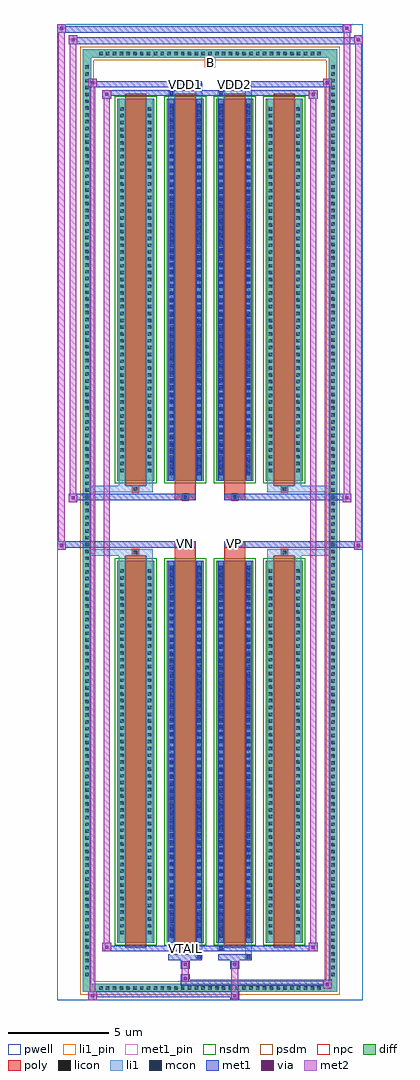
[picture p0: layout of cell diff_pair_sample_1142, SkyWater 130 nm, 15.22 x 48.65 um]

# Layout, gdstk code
import gdstk
lib = gdstk.Library(unit=1e-6, precision=5e-09)
def R(c, l, rs):  # rectangles x0, y0, x1, y1
    for r in rs: c.add(gdstk.rectangle(r[:2], r[2:], *l))
def A(c, l, x, y, w, h, nx, ny, dx, dy):  # array of equal rectangles
    R(c, l, [(x+i*dx, y+j*dy, x+i*dx+w, y+j*dy+h) for i in range(nx) for j in range(ny)])
def P(c, l, *ps):  # polygons
    for p in ps: c.add(gdstk.Polygon(p, *l))
pwell = (64, 44)
diff = (65, 20)
poly = (66, 20)
licon = (66, 44)
li1_pin = (67, 16)
li1 = (67, 20)
mcon = (67, 44)
met1_pin = (68, 16)
met1 = (68, 20)
via = (68, 44)
met2 = (69, 20)
nsdm = (93, 44)
psdm = (94, 20)
npc = (95, 20)

diff_pair_sample_1142 = lib.new_cell('diff_pair_sample_1142')
R(diff_pair_sample_1142, pwell, [(-7.61,-23.89,7.61,24.76), (-4.93,-22.08,-0.01,-0.82), (0.01,-22.08,4.93,-0.82), (-4.93,0.82,-0.01,22.08), (0.01,0.82,4.93,22.08)])
A(diff_pair_sample_1142, diff, -5.645, -23.49, 0.41, 0.41, 33, 2, 0.34, 46.57)
A(diff_pair_sample_1142, diff, -6.34, -22.815, 0.41, 0.41, 1, 134, 0, 0.34)
A(diff_pair_sample_1142, diff, 5.93, -22.815, 0.41, 0.41, 1, 134, 0, 0.34)
A(diff_pair_sample_1142, diff, -4.62, -21.035, 1.83, 19.03, 4, 2, 2.47, 23.04)
R(diff_pair_sample_1142, diff, [(-5.645,-23.49,5.645,-23.08), (-6.34,-22.815,-5.93,22.815), (5.93,-22.815,6.34,22.815), (-5.645,23.08,5.645,23.49)])
P(diff_pair_sample_1142, diff, [(6.34,23.49),(-6.34,23.49),(-6.34,-23.08),(-5.93,-23.08),(-5.93,23.08),(5.93,23.08),(5.93,-23.08),(-5.93,-23.08),(-6.34,-23.08),(-6.34,-23.49),(6.34,-23.49)])
A(diff_pair_sample_1142, poly, -4.23, -21.285, 1.05, 19.53, 4, 2, 2.47, 23.04)
R(diff_pair_sample_1142, poly, [(-3.87,-1.755,-3.54,-1.425), (-3.87,-1.755,-3.54,-1.425), (-1.76,-1.755,-0.71,-1.35), (0.71,-1.755,1.76,-1.35), (3.54,-1.755,3.87,-1.425), (3.54,-1.755,3.87,-1.425), (-1.76,-1.35,-0.71,-1.02), (-1.4,-1.35,-1.07,-1.02), (0.71,-1.35,1.76,-1.02), (1.07,-1.35,1.4,-1.02), (-1.76,1.02,-0.71,1.35), (-1.4,1.02,-1.07,1.35), (0.71,1.02,1.76,1.35), (1.07,1.02,1.4,1.35), (-1.76,1.35,-0.71,1.755), (0.71,1.35,1.76,1.755), (-3.87,1.425,-3.54,1.755), (-3.87,1.425,-3.54,1.755), (3.54,1.425,3.87,1.755), (3.54,1.425,3.87,1.755)])
A(diff_pair_sample_1142, licon, -5.525, -23.37, 0.17, 0.17, 33, 2, 0.34, 46.57)
A(diff_pair_sample_1142, licon, -6.22, -22.695, 0.17, 0.17, 1, 134, 0, 0.34)
A(diff_pair_sample_1142, licon, 6.05, -22.695, 0.17, 0.17, 1, 134, 0, 0.34)
A(diff_pair_sample_1142, licon, -4.48, -20.615, 0.17, 0.17, 1, 54, 0, 0.34)
A(diff_pair_sample_1142, licon, -3.1, -20.615, 0.17, 0.17, 1, 54, 0, 0.34)
A(diff_pair_sample_1142, licon, -2.01, -20.615, 0.17, 0.17, 1, 54, 0, 0.34)
A(diff_pair_sample_1142, licon, -0.63, -20.615, 0.17, 0.17, 1, 54, 0, 0.34)
A(diff_pair_sample_1142, licon, 0.46, -20.615, 0.17, 0.17, 1, 54, 0, 0.34)
A(diff_pair_sample_1142, licon, 1.84, -20.615, 0.17, 0.17, 1, 54, 0, 0.34)
A(diff_pair_sample_1142, licon, 2.93, -20.615, 0.17, 0.17, 1, 54, 0, 0.34)
A(diff_pair_sample_1142, licon, 4.31, -20.615, 0.17, 0.17, 1, 54, 0, 0.34)
A(diff_pair_sample_1142, licon, -4.48, 2.425, 0.17, 0.17, 1, 54, 0, 0.34)
A(diff_pair_sample_1142, licon, -3.1, 2.425, 0.17, 0.17, 1, 54, 0, 0.34)
A(diff_pair_sample_1142, licon, -2.01, 2.425, 0.17, 0.17, 1, 54, 0, 0.34)
A(diff_pair_sample_1142, licon, -0.63, 2.425, 0.17, 0.17, 1, 54, 0, 0.34)
A(diff_pair_sample_1142, licon, 0.46, 2.425, 0.17, 0.17, 1, 54, 0, 0.34)
A(diff_pair_sample_1142, licon, 1.84, 2.425, 0.17, 0.17, 1, 54, 0, 0.34)
A(diff_pair_sample_1142, licon, 2.93, 2.425, 0.17, 0.17, 1, 54, 0, 0.34)
A(diff_pair_sample_1142, licon, 4.31, 2.425, 0.17, 0.17, 1, 54, 0, 0.34)
R(diff_pair_sample_1142, licon, [(-3.79,-1.675,-3.62,-1.505), (3.62,-1.675,3.79,-1.505), (-1.32,-1.27,-1.15,-1.1), (1.15,-1.27,1.32,-1.1), (-1.32,1.1,-1.15,1.27), (1.15,1.1,1.32,1.27), (-3.79,1.505,-3.62,1.675), (3.62,1.505,3.79,1.675)])
R(diff_pair_sample_1142, li1_pin, [(-0.25,22.58,0.25,23.08)])
A(diff_pair_sample_1142, li1, -5.605, -23.45, 0.33, 0.33, 33, 2, 0.34, 46.57)
A(diff_pair_sample_1142, li1, -6.3, -22.775, 0.33, 0.33, 1, 134, 0, 0.34)
A(diff_pair_sample_1142, li1, 5.97, -22.775, 0.33, 0.33, 1, 134, 0, 0.34)
A(diff_pair_sample_1142, li1, -2.01, -20.785, 0.17, 0.17, 1, 52, 0, 0.36)
A(diff_pair_sample_1142, li1, -0.63, -20.785, 0.17, 0.17, 1, 52, 0, 0.36)
A(diff_pair_sample_1142, li1, 0.46, -20.785, 0.17, 0.17, 1, 52, 0, 0.36)
A(diff_pair_sample_1142, li1, 1.84, -20.785, 0.17, 0.17, 1, 52, 0, 0.36)
A(diff_pair_sample_1142, li1, -4.56, -20.695, 0.33, 0.33, 1, 54, 0, 0.34)
A(diff_pair_sample_1142, li1, -3.18, -20.695, 0.33, 0.33, 1, 54, 0, 0.34)
A(diff_pair_sample_1142, li1, -2.09, -20.695, 0.33, 0.33, 1, 54, 0, 0.34)
A(diff_pair_sample_1142, li1, -0.71, -20.695, 0.33, 0.33, 1, 54, 0, 0.34)
A(diff_pair_sample_1142, li1, 0.38, -20.695, 0.33, 0.33, 1, 54, 0, 0.34)
A(diff_pair_sample_1142, li1, 1.76, -20.695, 0.33, 0.33, 1, 54, 0, 0.34)
A(diff_pair_sample_1142, li1, 2.85, -20.695, 0.33, 0.33, 1, 54, 0, 0.34)
A(diff_pair_sample_1142, li1, 4.23, -20.695, 0.33, 0.33, 1, 54, 0, 0.34)
A(diff_pair_sample_1142, li1, -2.01, 2.255, 0.17, 0.17, 1, 52, 0, 0.36)
A(diff_pair_sample_1142, li1, -0.63, 2.255, 0.17, 0.17, 1, 52, 0, 0.36)
A(diff_pair_sample_1142, li1, 0.46, 2.255, 0.17, 0.17, 1, 52, 0, 0.36)
A(diff_pair_sample_1142, li1, 1.84, 2.255, 0.17, 0.17, 1, 52, 0, 0.36)
A(diff_pair_sample_1142, li1, -4.56, 2.345, 0.33, 0.33, 1, 54, 0, 0.34)
A(diff_pair_sample_1142, li1, -3.18, 2.345, 0.33, 0.33, 1, 54, 0, 0.34)
A(diff_pair_sample_1142, li1, -2.09, 2.345, 0.33, 0.33, 1, 54, 0, 0.34)
A(diff_pair_sample_1142, li1, -0.71, 2.345, 0.33, 0.33, 1, 54, 0, 0.34)
A(diff_pair_sample_1142, li1, 0.38, 2.345, 0.33, 0.33, 1, 54, 0, 0.34)
A(diff_pair_sample_1142, li1, 1.76, 2.345, 0.33, 0.33, 1, 54, 0, 0.34)
A(diff_pair_sample_1142, li1, 2.85, 2.345, 0.33, 0.33, 1, 54, 0, 0.34)
A(diff_pair_sample_1142, li1, 4.23, 2.345, 0.33, 0.33, 1, 54, 0, 0.34)
R(diff_pair_sample_1142, li1, [(-6.34,-23.49,-5.93,-23.08), (-6.34,-23.49,-5.93,-23.08), (-5.93,-23.49,5.93,-23.08), (5.93,-23.49,6.34,-23.08), (5.93,-23.49,6.34,-23.08), (-6.34,-23.08,-5.93,23.08), (5.93,-23.08,6.34,23.08), (-0.71,-21.84,-0.38,-21.035), (-0.63,-21.84,-0.46,-21.67), (1.76,-21.84,2.09,-21.035), (1.84,-21.84,2.01,-21.67), (-2.09,-21.41,-1.76,-21.035), (-2.01,-21.41,-1.84,-21.24), (0.38,-21.41,0.71,-21.035), (0.46,-21.41,0.63,-21.24), (-4.56,-21.035,-4.23,-2.005), (-3.18,-21.035,-2.85,-2.005), (-2.09,-21.035,-1.76,-2.005), (-0.71,-21.035,-0.38,-2.005), (0.38,-21.035,0.71,-2.005), (1.76,-21.035,2.09,-2.005), (2.85,-21.035,3.18,-2.005), (4.23,-21.035,4.56,-2.005), (-2.01,-20.785,-1.84,-2.255), (-0.63,-20.785,-0.46,-2.255), (0.46,-20.785,0.63,-2.255), (1.84,-20.785,2.01,-2.255), (-4.56,-2.005,-4.23,-1.425), (-3.18,-2.005,-2.85,-1.425), (2.85,-2.005,3.18,-1.425), (4.23,-2.005,4.56,-1.425), (-6.34,-1.755,-3.87,-1.425), (-4.56,-1.755,-3.87,-1.425), (-3.87,-1.755,-3.54,-1.425), (-3.54,-1.755,-2.85,-1.425), (2.85,-1.755,3.54,-1.425), (3.54,-1.755,3.87,-1.425), (3.54,-1.755,6.34,-1.425), (3.87,-1.755,4.56,-1.425), (-1.4,-1.35,-1.07,-1.02), (1.07,-1.35,1.4,-1.02), (-1.4,1.02,-1.07,1.35), (1.07,1.02,1.4,1.35), (-6.34,1.425,-3.87,1.755), (-4.56,1.425,-3.87,1.755), (-4.56,1.425,-4.23,2.005), (-3.87,1.425,-3.54,1.755), (-3.54,1.425,-2.85,1.755), (-3.18,1.425,-2.85,2.005), (2.85,1.425,3.54,1.755), (2.85,1.425,3.18,2.005), (3.54,1.425,3.87,1.755), (3.54,1.425,6.34,1.755), (3.87,1.425,4.56,1.755), (4.23,1.425,4.56,2.005), (-4.56,2.005,-4.23,21.035), (-3.18,2.005,-2.85,21.035), (-2.09,2.005,-1.76,21.035), (-0.71,2.005,-0.38,21.035), (0.38,2.005,0.71,21.035), (1.76,2.005,2.09,21.035), (2.85,2.005,3.18,21.035), (4.23,2.005,4.56,21.035), (-2.01,2.255,-1.84,20.785), (-0.63,2.255,-0.46,20.785), (0.46,2.255,0.63,20.785), (1.84,2.255,2.01,20.785), (-2.09,21.035,-1.76,21.41), (-0.71,21.035,-0.38,21.84), (0.38,21.035,0.71,21.41), (1.76,21.035,2.09,21.84), (-2.01,21.24,-1.84,21.41), (0.46,21.24,0.63,21.41), (-0.63,21.67,-0.46,21.84), (1.84,21.67,2.01,21.84), (-6.34,23.08,-5.93,23.49), (-6.34,23.08,-5.93,23.49), (-5.93,23.08,5.93,23.49), (5.93,23.08,6.34,23.49), (5.93,23.08,6.34,23.49)])
A(diff_pair_sample_1142, mcon, -2.01, -20.785, 0.17, 0.17, 1, 52, 0, 0.36)
A(diff_pair_sample_1142, mcon, -0.63, -20.785, 0.17, 0.17, 1, 52, 0, 0.36)
A(diff_pair_sample_1142, mcon, 0.46, -20.785, 0.17, 0.17, 1, 52, 0, 0.36)
A(diff_pair_sample_1142, mcon, 1.84, -20.785, 0.17, 0.17, 1, 52, 0, 0.36)
A(diff_pair_sample_1142, mcon, -2.01, 2.255, 0.17, 0.17, 1, 52, 0, 0.36)
A(diff_pair_sample_1142, mcon, -0.63, 2.255, 0.17, 0.17, 1, 52, 0, 0.36)
A(diff_pair_sample_1142, mcon, 0.46, 2.255, 0.17, 0.17, 1, 52, 0, 0.36)
A(diff_pair_sample_1142, mcon, 1.84, 2.255, 0.17, 0.17, 1, 52, 0, 0.36)
R(diff_pair_sample_1142, mcon, [(-0.63,-21.84,-0.46,-21.67), (1.84,-21.84,2.01,-21.67), (-2.01,-21.41,-1.84,-21.24), (0.46,-21.41,0.63,-21.24), (-1.32,-1.27,-1.15,-1.1), (1.15,-1.27,1.32,-1.1), (-1.32,1.1,-1.15,1.27), (1.15,1.1,1.32,1.27), (-2.01,21.24,-1.84,21.41), (0.46,21.24,0.63,21.41), (-0.63,21.67,-0.46,21.84), (1.84,21.67,2.01,21.84)])
R(diff_pair_sample_1142, met1_pin, [(-1.37,-21.45,-1.1,-21.18), (-1.37,-1.29,-1.1,-1.02), (1.1,-1.29,1.37,-1.02), (-1.37,21.63,-1.1,21.9), (1.1,21.63,1.37,21.9)])
A(diff_pair_sample_1142, met1, -2.07, -20.845, 0.29, 0.29, 1, 52, 0, 0.36)
A(diff_pair_sample_1142, met1, -0.69, -20.845, 0.29, 0.29, 1, 52, 0, 0.36)
A(diff_pair_sample_1142, met1, 0.4, -20.845, 0.29, 0.29, 1, 52, 0, 0.36)
A(diff_pair_sample_1142, met1, 1.78, -20.845, 0.29, 0.29, 1, 52, 0, 0.36)
A(diff_pair_sample_1142, met1, -2.07, 2.195, 0.29, 0.29, 1, 52, 0, 0.36)
A(diff_pair_sample_1142, met1, -0.69, 2.195, 0.29, 0.29, 1, 52, 0, 0.36)
A(diff_pair_sample_1142, met1, 0.4, 2.195, 0.29, 0.29, 1, 52, 0, 0.36)
A(diff_pair_sample_1142, met1, 1.78, 2.195, 0.29, 0.29, 1, 52, 0, 0.36)
R(diff_pair_sample_1142, met1, [(-6.07,-23.89,-5.64,-23.46), (1.02,-23.89,1.45,-23.46), (-6.07,-23.75,1.45,-23.46), (5.64,-23.32,6.07,-22.89), (-1.45,-23.18,6.07,-22.89), (-1.45,-23.04,-1.02,-22.61), (-1.45,-22.33,-1.02,-21.9), (1.02,-22.33,1.45,-21.9), (-2.07,-21.9,-0.4,-21.61), (-0.69,-21.9,-0.4,-21.61), (0.4,-21.9,2.07,-21.61), (1.78,-21.9,2.07,-21.61), (-5.36,-21.47,-4.93,-21.04), (-5.36,-21.47,-2.07,-21.18), (-2.07,-21.47,-1.78,-21.18), (-2.07,-21.47,-0.4,-21.18), (-0.4,-21.47,0.4,-21.18), (0.4,-21.47,0.69,-21.18), (0.4,-21.47,2.07,-21.18), (2.07,-21.47,5.36,-21.18), (4.93,-21.47,5.36,-21.04), (-2.07,-21.035,-1.78,-2.005), (-0.69,-21.035,-0.4,-2.005), (0.4,-21.035,0.69,-2.005), (1.78,-21.035,2.07,-2.005), (-7.61,-1.45,-7.18,-1.02), (7.18,-1.45,7.61,-1.02), (-7.61,-1.35,-0.71,-1.02), (-1.76,-1.35,-0.71,-1.02), (0.71,-1.35,1.76,-1.02), (0.71,-1.35,7.61,-1.02), (-1.38,-1.33,-1.09,-1.04), (1.09,-1.33,1.38,-1.04), (-7.04,0.92,-6.61,1.35), (6.61,0.92,7.04,1.35), (-7.04,1.02,-1.76,1.35), (-1.76,1.02,-0.71,1.35), (0.71,1.02,1.76,1.35), (1.76,1.02,7.04,1.35), (-1.38,1.04,-1.09,1.33), (1.09,1.04,1.38,1.33), (-2.07,2.005,-1.78,21.035), (-0.69,2.005,-0.4,21.035), (0.4,2.005,0.69,21.035), (1.78,2.005,2.07,21.035), (-5.36,21.04,-4.93,21.47), (4.93,21.04,5.36,21.47), (-5.36,21.18,-2.07,21.47), (-2.07,21.18,-1.78,21.47), (-2.07,21.18,-0.4,21.47), (-0.4,21.18,0.4,21.47), (0.4,21.18,0.69,21.47), (0.4,21.18,2.07,21.47), (2.07,21.18,5.36,21.47), (-6.07,21.61,-5.64,22.04), (-6.07,21.61,-2.07,21.9), (-2.07,21.61,-0.4,21.9), (-0.69,21.61,-0.4,21.9), (0.4,21.61,2.07,21.9), (1.78,21.61,2.07,21.9), (2.07,21.61,6.07,21.9), (5.64,21.61,6.07,22.04), (-7.04,23.76,-6.61,24.19), (-7.04,23.76,-4.93,24.09), (-4.93,23.76,4.93,24.09), (4.93,23.76,7.61,24.09), (7.18,23.76,7.61,24.19), (-7.61,24.33,-7.18,24.76), (-7.61,24.33,-4.93,24.66), (-4.93,24.33,4.93,24.66), (4.93,24.33,7.04,24.66), (6.61,24.33,7.04,24.76)])
R(diff_pair_sample_1142, via, [(-5.93,-23.75,-5.78,-23.6), (1.16,-23.75,1.31,-23.6), (5.78,-23.18,5.93,-23.03), (-1.31,-22.9,-1.16,-22.75), (-1.31,-22.19,-1.16,-22.04), (1.16,-22.19,1.31,-22.04), (-5.22,-21.33,-5.07,-21.18), (5.07,-21.33,5.22,-21.18), (-7.47,-1.31,-7.32,-1.16), (7.32,-1.31,7.47,-1.16), (-6.9,1.06,-6.75,1.21), (6.75,1.06,6.9,1.21), (-5.22,21.18,-5.07,21.33), (5.07,21.18,5.22,21.33), (-5.93,21.75,-5.78,21.9), (5.78,21.75,5.93,21.9), (-6.9,23.9,-6.75,24.05), (7.32,23.9,7.47,24.05), (-7.47,24.47,-7.32,24.62), (6.75,24.47,6.9,24.62)])
R(diff_pair_sample_1142, met2, [(-6.07,-23.89,-5.64,-23.46), (-6,-23.89,-5.71,22.04), (-5.71,-23.89,-5.64,-23.46), (-6.02,-23.84,-5.69,-23.51), (1.07,-23.84,1.4,-23.51), (1.07,-23.51,1.4,-22.28), (5.64,-23.32,6.07,-22.89), (5.71,-23.32,6,22.04), (6,-23.32,6.07,-22.89), (5.69,-23.27,6.02,-22.94), (-1.4,-22.99,-1.07,-22.66), (-1.4,-22.66,-1.07,-22.28), (-1.4,-22.28,-1.07,-21.95), (1.07,-22.28,1.4,-21.95), (-5.36,-21.47,-4.93,-21.04), (-5.29,-21.47,-5,21.47), (-5,-21.47,-4.93,-21.04), (4.93,-21.47,5.36,-21.04), (5,-21.47,5.29,21.47), (5.29,-21.47,5.36,-21.04), (-5.31,-21.42,-4.98,-21.09), (4.98,-21.42,5.31,-21.09), (-7.61,-1.45,-7.18,-1.02), (-7.56,-1.45,-7.23,24.76), (-7.23,-1.45,-7.18,-1.02), (7.18,-1.45,7.61,-1.02), (7.23,-1.45,7.56,24.19), (7.56,-1.45,7.61,-1.02), (-7.56,-1.4,-7.23,-1.07), (7.23,-1.4,7.56,-1.07), (-7.04,0.92,-6.61,1.35), (-6.99,0.92,-6.66,24.19), (-6.66,0.92,-6.61,1.35), (6.61,0.92,7.04,1.35), (6.66,0.92,6.99,24.76), (6.99,0.92,7.04,1.35), (-6.99,0.97,-6.66,1.3), (6.66,0.97,6.99,1.3), (-5.36,21.04,-4.93,21.47), (-5,21.04,-4.93,21.47), (4.93,21.04,5.36,21.47), (5.29,21.04,5.36,21.47), (-5.31,21.09,-4.98,21.42), (4.98,21.09,5.31,21.42), (-6.07,21.61,-5.64,22.04), (-5.71,21.61,-5.64,22.04), (5.64,21.61,6.07,22.04), (6,21.61,6.07,22.04), (-6.02,21.66,-5.69,21.99), (5.69,21.66,6.02,21.99), (-7.04,23.76,-6.61,24.19), (-6.66,23.76,-6.61,24.19), (7.18,23.76,7.61,24.19), (7.56,23.76,7.61,24.19), (-6.99,23.81,-6.66,24.14), (7.23,23.81,7.56,24.14), (-7.61,24.33,-7.18,24.76), (-7.23,24.33,-7.18,24.76), (6.61,24.33,7.04,24.76), (6.99,24.33,7.04,24.76), (-7.56,24.38,-7.23,24.71), (6.66,24.38,6.99,24.71)])
A(diff_pair_sample_1142, nsdm, -4.75, -21.165, 2.09, 19.29, 4, 2, 2.47, 23.04)
P(diff_pair_sample_1142, psdm, [(6.47,23.62),(-6.47,23.62),(-6.47,-22.95),(-5.8,-22.95),(-5.8,22.95),(5.8,22.95),(5.8,-22.95),(-5.8,-22.95),(-6.47,-22.95),(-6.47,-23.62),(6.47,-23.62)])
R(diff_pair_sample_1142, npc, [(-3.89,-1.775,-3.52,-1.405), (3.52,-1.775,3.89,-1.405), (-1.42,-1.37,-1.05,-1), (1.05,-1.37,1.42,-1), (-1.42,1,-1.05,1.37), (1.05,1,1.42,1.37), (-3.89,1.405,-3.52,1.775), (3.52,1.405,3.89,1.775)])
diff_pair_sample_1142.add(gdstk.Label('VTAIL', (-1.235,-21.315), layer=68, texttype=5))
diff_pair_sample_1142.add(gdstk.Label('VN', (-1.235,-1.155), layer=68, texttype=5))
diff_pair_sample_1142.add(gdstk.Label('VP', (1.235,-1.155), layer=68, texttype=5))
diff_pair_sample_1142.add(gdstk.Label('B', (0,22.83), layer=67, texttype=5))
diff_pair_sample_1142.add(gdstk.Label('VDD2', (1.235,21.765), layer=68, texttype=5))
diff_pair_sample_1142.add(gdstk.Label('VDD1', (-1.235,21.765), layer=68, texttype=5))

lib.write_gds('diff_pair_sample_1142.gds')
